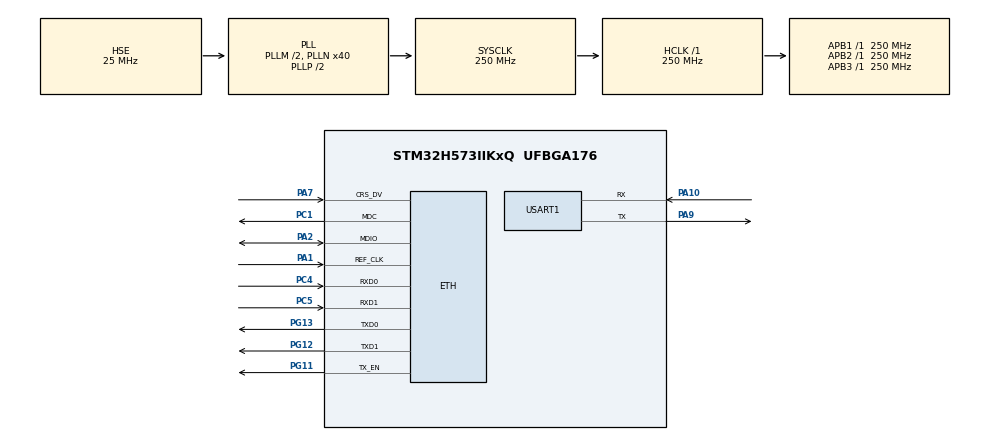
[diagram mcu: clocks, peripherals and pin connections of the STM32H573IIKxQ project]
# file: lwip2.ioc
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ADC1.Channel-0\#ChannelRegularConversion=ADC_CHANNEL_TEMPSENSOR
ADC1.ContinuousConvMode=ENABLE
ADC1.MonitoredBy-0\#ChannelRegularConversion=__NULL
ADC1.NbrOfConversionFlag=1
ADC1.OffsetNumber-0\#ChannelRegularConversion=ADC_OFFSET_NONE
ADC1.Rank-0\#ChannelRegularConversion=1
ADC1.SamplingTime-0\#ChannelRegularConversion=ADC_SAMPLETIME_2CYCLES_5
ADC1.master=1
BOOTPATH.BootPathName=LEGACY
BOOTPATH.UserSelectedBootPath=LEGACY
CORTEX_M33_NS.userName=CORTEX_M33
ETH.MediaInterface=HAL_ETH_RMII_MODE
Mcu.Family=STM32H5
Mcu.Name=STM32H573IIKxQ
Mcu.Package=UFBGA176
NVIC.PriorityGroup=NVIC_PRIORITYGROUP_4
PA1.Mode=RMII
PA1.Signal=ETH_REF_CLK
PA10.Mode=Asynchronous
PA10.Signal=USART1_RX
PA2.Mode=RMII
PA2.Signal=ETH_MDIO
PA7.Mode=RMII
PA7.Signal=ETH_CRS_DV
PA9.Mode=Asynchronous
PA9.Signal=USART1_TX
PC1.Mode=RMII
PC1.Signal=ETH_MDC
PC4.Mode=RMII
PC4.Signal=ETH_RXD0
PC5.Mode=RMII
PC5.Signal=ETH_RXD1
PG11.Mode=RMII
PG11.Signal=ETH_TX_EN
PG12.Mode=RMII
PG12.Signal=ETH_TXD1
PG13.Mode=RMII
PG13.Signal=ETH_TXD0
PH0-OSC_IN(PH0).Mode=HSE-DIG-External-Clock-Source
PH0-OSC_IN(PH0).Signal=RCC_OSC_IN
ProjectManager.HeapSize=0x200
ProjectManager.StackSize=0x400
ProjectManager.TargetToolchain=STM32CubeIDE
RCC.ADCFreq_Value=250000000
RCC.AHBFreq_Value=250000000
RCC.APB1Freq_Value=250000000
RCC.APB1TimFreq_Value=250000000
RCC.APB2Freq_Value=250000000
RCC.APB2TimFreq_Value=250000000
RCC.APB3Freq_Value=250000000
RCC.CSI_VALUE=4000000
RCC.CortexFreq_Value=250000000
RCC.EPOD_VALUE=25000000
RCC.HCLKFreq_Value=250000000
RCC.HSE_VALUE=25000000
RCC.HSI48_VALUE=48000000
RCC.HSI_VALUE=64000000
RCC.LSE_VALUE=32768
RCC.LSIRC_VALUE=32000
RCC.PLLFRACN=0
RCC.PLLM=2
RCC.PLLN=40
RCC.PLLSourceVirtual=RCC_PLL1_SOURCE_HSE
RCC.SYSCLKFreq_VALUE=250000000
RCC.SYSCLKSource=RCC_SYSCLKSOURCE_PLLCLK
RCC.USBFreq_Value=48000000
RCC.VCOOutputFreq_Value=500000000
USART1.VirtualMode-Asynchronous=VM_ASYNC
VP_ADC1_TempSens_Input.Mode=IN-TempSens
VP_BOOTPATH_VS_BOOTPATH.Mode=BP_Activate
VP_CORTEX_M33_NS_VS_Hclk.Mode=Hclk_Mode
VP_ICACHE_VS_ICACHE.Mode=DirectMappedCache
VP_MEMORYMAP_VS_MEMORYMAP.Mode=CurAppReg
VP_PWR_VS_LPOM.Mode=PowerOptimisation
VP_PWR_VS_SECSignals.Mode=Security/Privilege
board=custom

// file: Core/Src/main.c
/* USER CODE BEGIN Header */
/**
  ******************************************************************************
  * @file           : main.c
  * @brief          : Main program body
  ******************************************************************************
  * @attention
  *
  * Copyright (c) 2025 STMicroelectronics.
  * All rights reserved.
  *
  * This software is licensed under terms that can be found in the LICENSE file
  * in the root directory of this software component.
  * If no LICENSE file comes with this software, it is provided AS-IS.
  *
  ******************************************************************************
  */
/* USER CODE END Header */
#include "main.h"
#include "string.h"

/* USER CODE BEGIN Includes */
#include "lwip/apps/httpd.h"
#include "http_ssi.h"
#include "stdio.h"
#include "lwip.h"
#include "ethernetif.h"
#include "lwip/opt.h"
#include "lwip/init.h"
#include "netif/etharp.h"
#include "lwip/netif.h"
#include "lwip/timeouts.h"
#if LWIP_DHCP
#include "lwip/dhcp.h"
#endif

/* USER CODE END Includes */

ETH_TxPacketConfigTypeDef TxConfig;
ETH_DMADescTypeDef  DMARxDscrTab[ETH_RX_DESC_CNT]; /* Ethernet Rx DMA Descriptors */
ETH_DMADescTypeDef  DMATxDscrTab[ETH_TX_DESC_CNT]; /* Ethernet Tx DMA Descriptors */

ADC_HandleTypeDef hadc1;

ETH_HandleTypeDef heth;

UART_HandleTypeDef huart1;

/* USER CODE BEGIN PV */
extern struct netif gnetif;

/* USER CODE END PV */

void SystemClock_Config(void);
static void MX_GPIO_Init(void);
static void MX_ICACHE_Init(void);
static void MX_USART1_UART_Init(void);
static void MX_ADC1_Init(void);
/* USER CODE BEGIN PFP */
static void Netif_Config(void);
/* USER CODE END PFP */

/* USER CODE BEGIN 0 */
int __io_putchar(int ch)
{
  HAL_UART_Transmit(&huart1, (uint8_t *)&ch, 1, HAL_MAX_DELAY);
  return ch;
}
/* USER CODE END 0 */

int main(void)
{

  /* MCU Configuration--------------------------------------------------------*/

  /* Reset of all peripherals, Initializes the Flash interface and the Systick. */
  HAL_Init();

  /* Configure the system clock */
  SystemClock_Config();

  /* Initialize all configured peripherals */
  MX_GPIO_Init();
  MX_ETH_Init();
  MX_ICACHE_Init();
  MX_USART1_UART_Init();
  MX_ADC1_Init();
  /* USER CODE BEGIN 2 */

  lwip_init();
  Netif_Config();

  	httpd_init();
    printf("SSI=%d  Dynamic=%d\n",
           LWIP_HTTPD_SSI, LWIP_HTTPD_DYNAMIC_HEADERS);

    httpd_ssi_init_custom();

    printf("HTTP server started on IP: %s\n", ip4addr_ntoa(netif_ip4_addr(&gnetif)));

  /* USER CODE END 2 */

  /* Infinite loop */
  /* USER CODE BEGIN WHILE */
  while (1)
  {
	  /* Read a received packet from the Ethernet buffers and send it
	    	               to the lwIP for handling */
	    	              ethernetif_input(&gnetif);
	    	              /* Handle timeouts */
	    	              sys_check_timeouts();
	    	 #if LWIP_NETIF_LINK_CALLBACK
	    	              Ethernet_Link_Periodic_Handle(&gnetif);
	    	 #endif
	    	 #if LWIP_DHCP
	    	              DHCP_Periodic_Handle(&gnetif);
	    	 #endif

    /* USER CODE END WHILE */

  }
}

void SystemClock_Config(void)
{
  RCC_OscInitTypeDef RCC_OscInitStruct = {0};
  RCC_ClkInitTypeDef RCC_ClkInitStruct = {0};

  /** Configure the main internal regulator output voltage
  */
  __HAL_PWR_VOLTAGESCALING_CONFIG(PWR_REGULATOR_VOLTAGE_SCALE0);

  while(!__HAL_PWR_GET_FLAG(PWR_FLAG_VOSRDY)) {}

  /** Initializes the RCC Oscillators according to the specified parameters
  * in the RCC_OscInitTypeDef structure.
  */
  RCC_OscInitStruct.OscillatorType = RCC_OSCILLATORTYPE_HSE;
  RCC_OscInitStruct.HSEState = RCC_HSE_BYPASS_DIGITAL;
  RCC_OscInitStruct.PLL.PLLState = RCC_PLL_ON;
  RCC_OscInitStruct.PLL.PLLSource = RCC_PLL1_SOURCE_HSE;
  RCC_OscInitStruct.PLL.PLLM = 2;
  RCC_OscInitStruct.PLL.PLLN = 40;
  RCC_OscInitStruct.PLL.PLLP = 2;
  RCC_OscInitStruct.PLL.PLLQ = 2;
  RCC_OscInitStruct.PLL.PLLR = 2;
  RCC_OscInitStruct.PLL.PLLRGE = RCC_PLL1_VCIRANGE_3;
  RCC_OscInitStruct.PLL.PLLVCOSEL = RCC_PLL1_VCORANGE_WIDE;
  RCC_OscInitStruct.PLL.PLLFRACN = 0;
  if (HAL_RCC_OscConfig(&RCC_OscInitStruct) != HAL_OK)
  {
    Error_Handler();
  }

  /** Initializes the CPU, AHB and APB buses clocks
  */
  RCC_ClkInitStruct.ClockType = RCC_CLOCKTYPE_HCLK|RCC_CLOCKTYPE_SYSCLK
                              |RCC_CLOCKTYPE_PCLK1|RCC_CLOCKTYPE_PCLK2
                              |RCC_CLOCKTYPE_PCLK3;
  RCC_ClkInitStruct.SYSCLKSource = RCC_SYSCLKSOURCE_PLLCLK;
  RCC_ClkInitStruct.AHBCLKDivider = RCC_SYSCLK_DIV1;
  RCC_ClkInitStruct.APB1CLKDivider = RCC_HCLK_DIV1;
  RCC_ClkInitStruct.APB2CLKDivider = RCC_HCLK_DIV1;
  RCC_ClkInitStruct.APB3CLKDivider = RCC_HCLK_DIV1;

  if (HAL_RCC_ClockConfig(&RCC_ClkInitStruct, FLASH_LATENCY_5) != HAL_OK)
  {
    Error_Handler();
  }

  /** Configure the programming delay
  */
  __HAL_FLASH_SET_PROGRAM_DELAY(FLASH_PROGRAMMING_DELAY_2);
}

static void MX_ADC1_Init(void)
{

  ADC_ChannelConfTypeDef sConfig = {0};

  /** Common config
  */
  hadc1.Instance = ADC1;
  hadc1.Init.ClockPrescaler = ADC_CLOCK_ASYNC_DIV4;
  hadc1.Init.Resolution = ADC_RESOLUTION_12B;
  hadc1.Init.DataAlign = ADC_DATAALIGN_RIGHT;
  hadc1.Init.ScanConvMode = ADC_SCAN_DISABLE;
  hadc1.Init.EOCSelection = ADC_EOC_SINGLE_CONV;
  hadc1.Init.LowPowerAutoWait = DISABLE;
  hadc1.Init.ContinuousConvMode = ENABLE;
  hadc1.Init.NbrOfConversion = 1;
  hadc1.Init.DiscontinuousConvMode = DISABLE;
  hadc1.Init.ExternalTrigConv = ADC_SOFTWARE_START;
  hadc1.Init.ExternalTrigConvEdge = ADC_EXTERNALTRIGCONVEDGE_NONE;
  hadc1.Init.DMAContinuousRequests = DISABLE;
  hadc1.Init.SamplingMode = ADC_SAMPLING_MODE_NORMAL;
  hadc1.Init.Overrun = ADC_OVR_DATA_PRESERVED;
  hadc1.Init.OversamplingMode = DISABLE;
  if (HAL_ADC_Init(&hadc1) != HAL_OK)
  {
    Error_Handler();
  }

  /** Configure Regular Channel
  */
  sConfig.Channel = ADC_CHANNEL_TEMPSENSOR;
  sConfig.Rank = ADC_REGULAR_RANK_1;
  sConfig.SamplingTime = ADC_SAMPLETIME_2CYCLES_5;
  sConfig.SingleDiff = ADC_SINGLE_ENDED;
  sConfig.OffsetNumber = ADC_OFFSET_NONE;
  sConfig.Offset = 0;
  if (HAL_ADC_ConfigChannel(&hadc1, &sConfig) != HAL_OK)
  {
    Error_Handler();
  }

}

void MX_ETH_Init(void)
{

   static uint8_t MACAddr[6];

  heth.Instance = ETH;
  MACAddr[0] = 0x00;
  MACAddr[1] = 0x80;
  MACAddr[2] = 0xE1;
  MACAddr[3] = 0x00;
  MACAddr[4] = 0x00;
  MACAddr[5] = 0x00;
  heth.Init.MACAddr = &MACAddr[0];
  heth.Init.MediaInterface = HAL_ETH_RMII_MODE;
  heth.Init.TxDesc = DMATxDscrTab;
  heth.Init.RxDesc = DMARxDscrTab;
  heth.Init.RxBuffLen = 1524;

  if (HAL_ETH_Init(&heth) != HAL_OK)
  {
    Error_Handler();
  }

  memset(&TxConfig, 0 , sizeof(ETH_TxPacketConfigTypeDef));
  TxConfig.Attributes = ETH_TX_PACKETS_FEATURES_CSUM | ETH_TX_PACKETS_FEATURES_CRCPAD;
  TxConfig.ChecksumCtrl = ETH_CHECKSUM_IPHDR_PAYLOAD_INSERT_PHDR_CALC;
  TxConfig.CRCPadCtrl = ETH_CRC_PAD_INSERT;

}

static void MX_ICACHE_Init(void)
{

  /** Enable instruction cache in 1-way (direct mapped cache)
  */
  if (HAL_ICACHE_ConfigAssociativityMode(ICACHE_1WAY) != HAL_OK)
  {
    Error_Handler();
  }
  if (HAL_ICACHE_Enable() != HAL_OK)
  {
    Error_Handler();
  }

}

static void MX_USART1_UART_Init(void)
{

  huart1.Instance = USART1;
  huart1.Init.BaudRate = 115200;
  huart1.Init.WordLength = UART_WORDLENGTH_8B;
  huart1.Init.StopBits = UART_STOPBITS_1;
  huart1.Init.Parity = UART_PARITY_NONE;
  huart1.Init.Mode = UART_MODE_TX_RX;
  huart1.Init.HwFlowCtl = UART_HWCONTROL_NONE;
  huart1.Init.OverSampling = UART_OVERSAMPLING_16;
  huart1.Init.OneBitSampling = UART_ONE_BIT_SAMPLE_DISABLE;
  huart1.Init.ClockPrescaler = UART_PRESCALER_DIV1;
  huart1.AdvancedInit.AdvFeatureInit = UART_ADVFEATURE_NO_INIT;
  if (HAL_UART_Init(&huart1) != HAL_OK)
  {
    Error_Handler();
  }
  if (HAL_UARTEx_SetTxFifoThreshold(&huart1, UART_TXFIFO_THRESHOLD_1_8) != HAL_OK)
  {
    Error_Handler();
  }
  if (HAL_UARTEx_SetRxFifoThreshold(&huart1, UART_RXFIFO_THRESHOLD_1_8) != HAL_OK)
  {
    Error_Handler();
  }
  if (HAL_UARTEx_DisableFifoMode(&huart1) != HAL_OK)
  {
    Error_Handler();
  }

}

static void MX_GPIO_Init(void)
{

  /* GPIO Ports Clock Enable */
  __HAL_RCC_GPIOG_CLK_ENABLE();
  __HAL_RCC_GPIOA_CLK_ENABLE();
  __HAL_RCC_GPIOH_CLK_ENABLE();
  __HAL_RCC_GPIOC_CLK_ENABLE();

}

/* USER CODE BEGIN 4 */
static void Netif_Config(void) {
      ip_addr_t ipaddr;
      ip_addr_t netmask;
      ip_addr_t gw;
#if LWIP_DHCP
      ip_addr_set_zero_ip4(&ipaddr);
      ip_addr_set_zero_ip4(&netmask);
      ip_addr_set_zero_ip4(&gw);
#else
  /* IP address default setting */
  IP4_ADDR(&ipaddr, IP_ADDR0, IP_ADDR1, IP_ADDR2, IP_ADDR3);
  IP4_ADDR(&netmask, NETMASK_ADDR0, NETMASK_ADDR1 , NETMASK_ADDR2, NETMASK_ADDR3);
  IP4_ADDR(&gw, GW_ADDR0, GW_ADDR1, GW_ADDR2, GW_ADDR3);
#endif
      /* add the network interface */
      netif_add(&gnetif, &ipaddr, &netmask, &gw, NULL, &ethernetif_init,
                   &ethernet_input);
      /*  Registers the default network interface */
      netif_set_default(&gnetif);
#if LWIP_NETIF_LINK_CALLBACK
      netif_set_link_callback(&gnetif, ethernet_link_status_updated);
      dhcp_start(&gnetif);
      ethernet_link_status_updated(&gnetif);
#endif
}
/* USER CODE END 4 */

void Error_Handler(void)
{
  __disable_irq();
  while (1)
  {
  }
}
